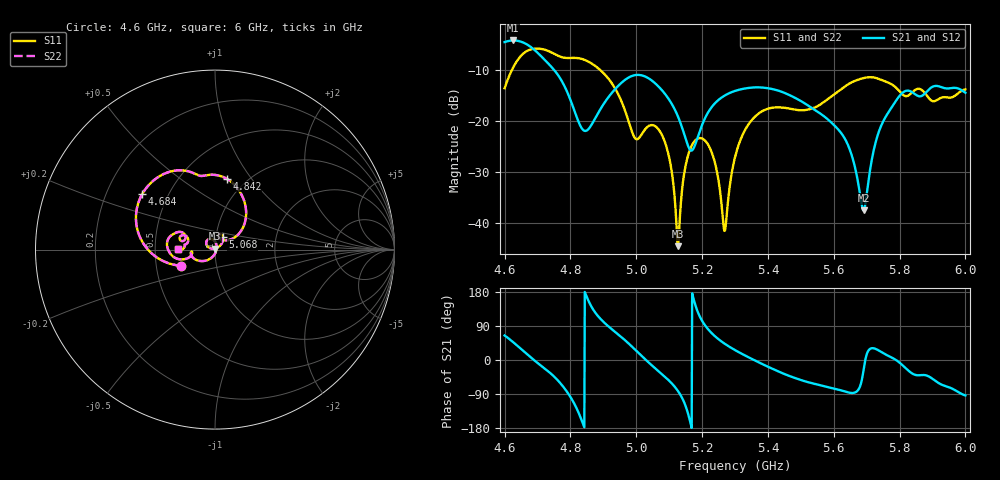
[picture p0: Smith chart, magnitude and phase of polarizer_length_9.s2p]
! TOUCHSTONE file generated by CST MICROWAVE STUDIO
! Date and time: Sun Dec  1 17:16:59 2024
! Project name: test_tuning.cst
! Parameters = {airCoaxOuterDiameter=3; chamferAngle=45; chamferWidth=24; connectorLength=10; drillingHoleDiameter=4.1; feedLength=60; flareDiameter=130; flareLength=70; gratingDistance=0; gratingGap=1.90274; outletLength=30; polarizerLength=80; probe1Diameter=1.3; probe1Distance=14; probe1Length=12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
! Header version: 2024
! Port assignment regex: !\s*Touchstone port\s*([0-9]+)\s*=\s*(CST MWS port|CST DES external port|CST DES block port)\s*(.+)\s* \(\"(.*)\"\)(\s*mode\s*([0-9]+))?.*
! Touchstone port assignment:
! Touchstone port 1 = CST MWS port 1 ("Input1")
! Touchstone port 2 = CST MWS port 2 ("Input2")
# GHz S MA R 50
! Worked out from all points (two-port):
!   1001 points, 4.6 GHz to 6 GHz, reference 50 ohm
!   highest |S21| = -4.16 dB at 4.627 GHz (marker M1); lowest = -37.5 dB at 5.691 GHz (marker M2)
!   |S21| within 3 dB of the highest: start of sweep to 4.709 GHz
!   lowest |S11| = -44.5 dB at 5.126 GHz (marker M3), VSWR 1.01, Z = 49.9 + j0.588 ohm
!   |S11| at or under -10 dB: start of sweep to 4.621833 GHz; 4.891 GHz to end of sweep
!   |S22| runs from -44.5 to -5.8 dB; largest |S21 - S12| = 7.5e-07
!   S11 on the Smith chart (normalised r, x): 4.6 GHz: 0.67, -0.13; 4.684 GHz: 0.36, +0.30; 4.842 GHz: 0.81, +0.77; 5.068 GHz: 1.08, +0.15; 6 GHz: 0.66, +0.00
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4.6  0.2105 -154.7  0.5968 64.7  0.5968 64.7  0.2105 -154.7
4.6266  0.3392 -174.3  0.6192 46.6  0.6192 46.6  0.3392 -174.3
4.684  0.5101 142.6  0.521 3.7  0.521 3.7  0.5101 142.6
4.761  0.4406 105.4  0.2869 -53.1  0.2869 -53.1  0.4406 105.4
4.8338  0.4088 84.5  0.08564 -158.4  0.08564 -158.4  0.4088 84.5
4.8422  0.4004 80.7  0.08046 -177.4  0.08046 -177.4  0.4004 80.7
4.9976  0.06734 54.8  0.2833 26.5  0.2833 26.5  0.06734 54.8
5.0676  0.08296 59.2  0.2186 -29.4  0.2186 -29.4  0.08296 59.2
5.1012  0.04218 39.4  0.16 -55.7  0.16 -55.7  0.04218 39.4
5.1264  0.005926 96.6  0.1116 -81.5  0.1116 -81.5  0.005927 96.6
5.1502  0.03706 161.1  0.06684 -122.2  0.06684 -122.2  0.03706 161.1
5.1768  0.06334 140.9  0.05646 152.8  0.05646 152.8  0.06334 140.9
5.23  0.04861 93.4  0.1385 70.2  0.1385 70.2  0.04861 93.4
5.2678  0.008381 -6.0  0.1776 43.5  0.1776 43.5  0.00838 -6.0
5.3  0.04414 -110.0  0.1979 26.2  0.1979 26.2  0.04414 -110.0
5.3784  0.1228 -153.5  0.2141 -8.9  0.2141 -8.9  0.1228 -153.5
5.5338  0.1328 -168.2  0.1344 -61.3  0.1344 -61.3  0.1328 -168.2
5.636  0.2216 -167.3  0.06523 -83.8  0.06523 -83.8  0.2216 -167.3
5.6906  0.2646 178.1  0.01328 -26.5  0.01328 -26.5  0.2646 178.1
5.7284  0.2649 165.6  0.0639 28.9  0.0639 28.9  0.2649 165.6
5.7676  0.2373 156.6  0.1241 10.1  0.1241 10.1  0.2373 156.6
6  0.2052 179.7  0.19 -93.6  0.19 -93.6  0.2052 179.7
